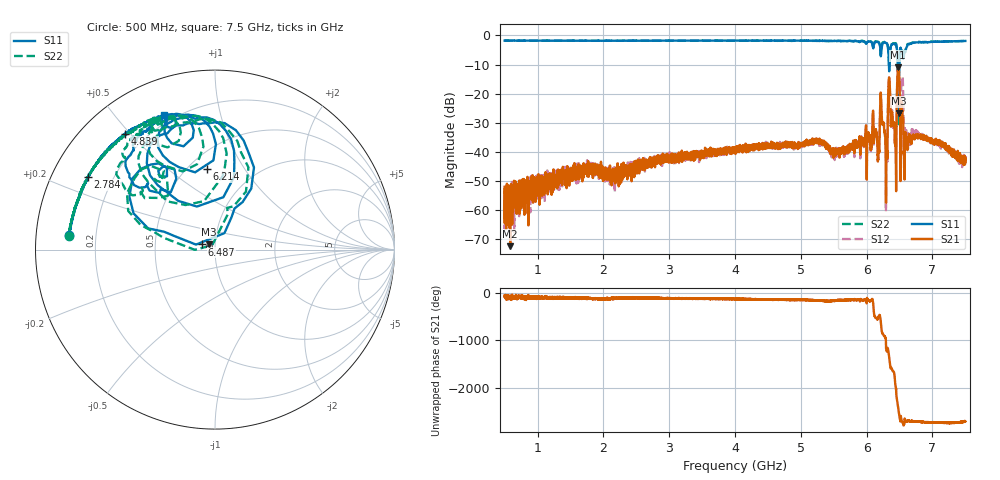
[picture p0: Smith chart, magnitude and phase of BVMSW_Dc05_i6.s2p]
!Keysight Technologies,M9374A,MY55442783,A.12.55.05
!Date: Thursday, May 20, 2021 19:12:34
!Correction: S11(Full 2 Port(1,2))
!S21(Full 2 Port(1,2))
!S12(Full 2 Port(1,2))
!S22(Full 2 Port(1,2))
!S2P File: Measurements: S11, S21, S12, S22:
# Hz S  RI  R 50
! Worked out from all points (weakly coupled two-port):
!   7001 points, 500 MHz to 7.5 GHz, reference 50 ohm
!   highest |S21| = -10.93 dB at 6.476 GHz (marker M1); lowest = -72.3 dB at 585 MHz (marker M2)
!   lowest |S11| = -26.7 dB at 6.486 GHz (marker M3), VSWR 1.10, Z = 46.6 + j2.82 ohm
!   |S11| at or under -10 dB: 6.338836 GHz to 6.34669 GHz (7.855 MHz wide, 0.124 % of centre); 6.471669 GHz to 6.49756 GHz (25.89 MHz wide, 0.399 % of centre)
!   |S22| runs from -30.9 to -1.7 dB; largest |S21 - S12| = 0.23
!   S11 on the Smith chart (normalised r, x): 500 MHz: 0.10, +0.05; 2.784 GHz: 0.11, +0.26; 4.839 GHz: 0.12, +0.48; 6.214 GHz: 0.62, +0.70; 6.487 GHz: 0.86, +0.05; 7.5 GHz: 0.16, +0.68
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5e8  -0.812 0.0797  0.00133 -0.00215  -9.07e-05 -0.00134  -0.815 0.0743
5.85e8  -0.8101 0.0921  -7.14e-05 -0.000232  -0.000534 -0.00192  -0.8142 0.0867
1.667e9  -0.7725 0.2528  -0.00178 -0.00411  -0.00156 -0.00311  -0.7775 0.2373
2.784e9  -0.7077 0.4056  -0.00216 -0.00724  -0.00342 -0.00629  -0.7209 0.38
2.834e9  -0.7034 0.4115  -0.00266 -0.00819  -0.0035 -0.00556  -0.7174 0.3911
4e9  -0.5995 0.5558  -0.00734 -0.00721  -0.0084 -0.00818  -0.6196 0.5265
4.839e9  -0.5 0.646  -0.0118 -0.00643  -0.0119 -0.00536  -0.5364 0.6076
5.167e9  -0.4459 0.6787  -0.0135 -0.0047  -0.0128 -0.00524  -0.497 0.6407
6.119e9  -0.282 0.688  -0.0124 -0.0189  -0.0139 -0.0167  -0.3539 0.6829
6.162e9  -0.1885 0.7467  -0.0129 0.00331  -0.0132 0.00362  -0.2649 0.7352
6.214e9  -0.0432 0.4486  -0.0534 0.09  -0.0428 0.0901  -0.1444 0.4375
6.286e9  -0.143 0.7389  -0.00886 0.0108  -0.00799 0.0105  -0.2022 0.7337
6.334e9  0.117 0.4476  -0.1585 0.0056  -0.1576 0.0113  0.0479 0.4215
6.361e9  -0.3695 0.433  -0.0396 -0.0488  -0.033 -0.0487  -0.416 0.4337
6.423e9  -0.1305 0.7021  0.00838 0.0253  0.00872 0.0223  -0.1902 0.7048
6.476e9  0.1088 0.2292  -0.2217 0.1774  -0.2274 0.1928  0.0678 0.2322
6.486e9  -0.0347 0.0302  0.1724 0.176  0.2029 0.2259  -0.0415 0.0105
6.487e9  -0.0733 0.0289  0.1863 0.1492  0.2182 0.2071  -0.0672 -4.25e-06
6.523e9  -0.3205 0.4793  -0.00571 -0.0665  -0.0662 -0.0901  -0.2894 0.4413
6.596e9  -0.4516 0.3601  -0.0188 -0.00579  -0.0125 -0.0153  -0.4991 0.3355
6.798e9  -0.4029 0.6515  -0.0186 0.000388  -0.0185 0.00148  -0.4646 0.6214
7.5e9  -0.2854 0.7526  -0.00753 -0.000723  -0.00701 -0.0014  -0.337 0.7247
